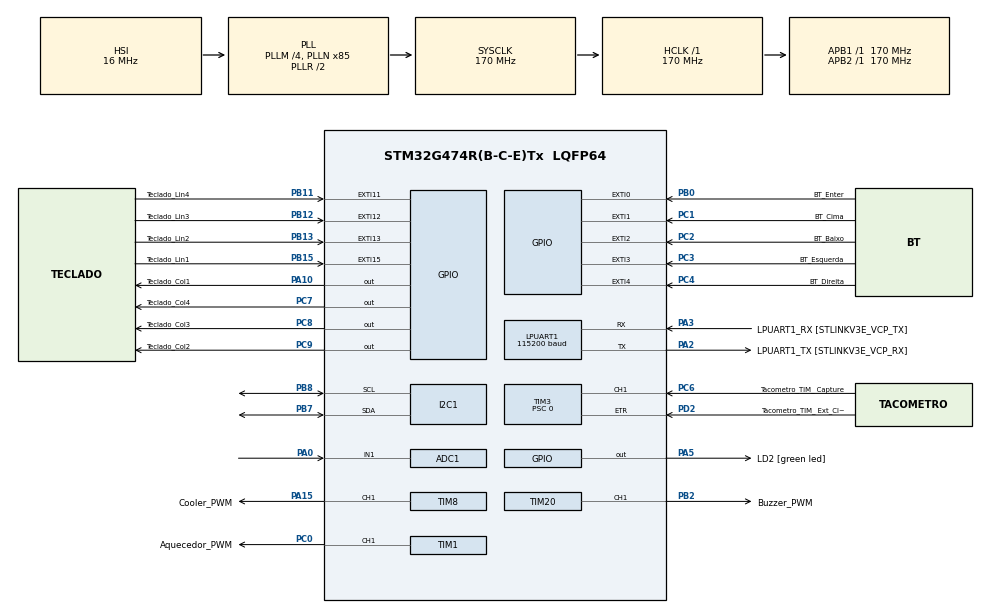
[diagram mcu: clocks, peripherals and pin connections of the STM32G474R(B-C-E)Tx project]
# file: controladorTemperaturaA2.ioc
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ADC1.Channel-1\#ChannelRegularConversion=ADC_CHANNEL_1
ADC1.ClockPrescaler=ADC_CLOCK_ASYNC_DIV64
ADC1.ContinuousConvMode=ENABLE
ADC1.DMAContinuousRequests=ENABLE
ADC1.NbrOfConversion=1
ADC1.NbrOfConversionFlag=1
ADC1.OffsetNumber-1\#ChannelRegularConversion=ADC_OFFSET_NONE
ADC1.OversamplingMode=ENABLE
ADC1.Rank-1\#ChannelRegularConversion=1
ADC1.Ratio=ADC_OVERSAMPLING_RATIO_16
ADC1.RightBitShift=ADC_RIGHTBITSHIFT_4
ADC1.SamplingTime-1\#ChannelRegularConversion=ADC_SAMPLETIME_2CYCLES_5
ADC1.master=1
Dma.ADC1.0.Direction=DMA_PERIPH_TO_MEMORY
Dma.ADC1.0.EventEnable=DISABLE
Dma.ADC1.0.Instance=DMA1_Channel1
Dma.ADC1.0.MemDataAlignment=DMA_MDATAALIGN_HALFWORD
Dma.ADC1.0.MemInc=DMA_MINC_ENABLE
Dma.ADC1.0.Mode=DMA_CIRCULAR
Dma.ADC1.0.PeriphDataAlignment=DMA_PDATAALIGN_HALFWORD
Dma.ADC1.0.PeriphInc=DMA_PINC_DISABLE
Dma.ADC1.0.Polarity=HAL_DMAMUX_REQ_GEN_RISING
Dma.ADC1.0.Priority=DMA_PRIORITY_HIGH
Dma.ADC1.0.RequestNumber=1
Dma.ADC1.0.SignalID=NONE
Dma.ADC1.0.SyncEnable=DISABLE
Dma.ADC1.0.SyncPolarity=HAL_DMAMUX_SYNC_NO_EVENT
Dma.ADC1.0.SyncRequestNumber=1
Dma.ADC1.0.SyncSignalID=NONE
Dma.LPUART1_RX.1.Direction=DMA_PERIPH_TO_MEMORY
Dma.LPUART1_RX.1.EventEnable=DISABLE
Dma.LPUART1_RX.1.Instance=DMA1_Channel2
Dma.LPUART1_RX.1.MemDataAlignment=DMA_MDATAALIGN_BYTE
Dma.LPUART1_RX.1.MemInc=DMA_MINC_ENABLE
Dma.LPUART1_RX.1.Mode=DMA_NORMAL
Dma.LPUART1_RX.1.PeriphDataAlignment=DMA_PDATAALIGN_BYTE
Dma.LPUART1_RX.1.PeriphInc=DMA_PINC_DISABLE
Dma.LPUART1_RX.1.Polarity=HAL_DMAMUX_REQ_GEN_RISING
Dma.LPUART1_RX.1.Priority=DMA_PRIORITY_LOW
Dma.LPUART1_RX.1.RequestNumber=1
Dma.LPUART1_RX.1.SignalID=NONE
Dma.LPUART1_RX.1.SyncEnable=DISABLE
Dma.LPUART1_RX.1.SyncPolarity=HAL_DMAMUX_SYNC_NO_EVENT
Dma.LPUART1_RX.1.SyncRequestNumber=1
Dma.LPUART1_RX.1.SyncSignalID=NONE
Dma.LPUART1_TX.2.Direction=DMA_MEMORY_TO_PERIPH
Dma.LPUART1_TX.2.EventEnable=DISABLE
Dma.LPUART1_TX.2.Instance=DMA1_Channel3
Dma.LPUART1_TX.2.MemDataAlignment=DMA_MDATAALIGN_BYTE
Dma.LPUART1_TX.2.MemInc=DMA_MINC_ENABLE
Dma.LPUART1_TX.2.Mode=DMA_NORMAL
Dma.LPUART1_TX.2.PeriphDataAlignment=DMA_PDATAALIGN_BYTE
Dma.LPUART1_TX.2.PeriphInc=DMA_PINC_DISABLE
Dma.LPUART1_TX.2.Polarity=HAL_DMAMUX_REQ_GEN_RISING
Dma.LPUART1_TX.2.Priority=DMA_PRIORITY_LOW
Dma.LPUART1_TX.2.RequestNumber=1
Dma.LPUART1_TX.2.SignalID=NONE
Dma.LPUART1_TX.2.SyncEnable=DISABLE
Dma.LPUART1_TX.2.SyncPolarity=HAL_DMAMUX_SYNC_NO_EVENT
Dma.LPUART1_TX.2.SyncRequestNumber=1
Dma.LPUART1_TX.2.SyncSignalID=NONE
Dma.Request0=ADC1
Dma.Request1=LPUART1_RX
Dma.Request2=LPUART1_TX
I2C1.Timing=0x30A0A7FB
LPUART1.BaudRate=115200
LPUART1.WordLength=UART_WORDLENGTH_8B
Mcu.Family=STM32G4
Mcu.Name=STM32G474R(B-C-E)Tx
Mcu.Package=LQFP64
NVIC.ADC1_2_IRQn=true\:0\:0\:false\:false\:true\:true\:true\:true
NVIC.DMA1_Channel1_IRQn=true\:0\:0\:false\:false\:true\:false\:true\:true
NVIC.DMA1_Channel2_IRQn=true\:0\:0\:false\:false\:true\:false\:true\:true
NVIC.DMA1_Channel3_IRQn=true\:0\:0\:false\:false\:true\:false\:true\:true
NVIC.EXTI0_IRQn=true\:0\:0\:false\:false\:true\:true\:true\:true
NVIC.EXTI15_10_IRQn=true\:0\:0\:false\:false\:true\:true\:true\:true
NVIC.EXTI1_IRQn=true\:0\:0\:false\:false\:true\:true\:true\:true
NVIC.EXTI2_IRQn=true\:0\:0\:false\:false\:true\:true\:true\:true
NVIC.EXTI3_IRQn=true\:0\:0\:false\:false\:true\:true\:true\:true
NVIC.EXTI4_IRQn=true\:0\:0\:false\:false\:true\:true\:true\:true
NVIC.I2C1_EV_IRQn=true\:0\:0\:false\:false\:true\:true\:true\:true
NVIC.LPUART1_IRQn=true\:0\:0\:false\:false\:true\:true\:true\:true
NVIC.PriorityGroup=NVIC_PRIORITYGROUP_4
NVIC.TIM1_BRK_TIM15_IRQn=true\:0\:0\:false\:false\:true\:true\:true\:true
NVIC.TIM1_TRG_COM_TIM17_IRQn=true\:0\:0\:false\:false\:true\:true\:true\:true
NVIC.TIM1_UP_TIM16_IRQn=true\:0\:0\:false\:false\:true\:true\:true\:true
NVIC.TIM4_IRQn=true\:0\:0\:false\:false\:true\:true\:true\:true
NVIC.TIM5_IRQn=true\:0\:0\:false\:false\:true\:true\:true\:true
NVIC.TIM6_DAC_IRQn=true\:0\:0\:false\:false\:true\:true\:true\:true
NVIC.TIM7_DAC_IRQn=true\:0\:0\:false\:false\:true\:true\:true\:true
PA0.Mode=IN1-Single-Ended
PA0.Signal=ADC1_IN1
PA10.GPIO_Label=Teclado_Col1
PA10.Signal=GPIO_Output
PA13.GPIO_Label=T_SWDIO
PA13.Mode=Serial_Wire
PA13.Signal=SYS_JTMS-SWDIO
PA14.GPIO_Label=T_SWCLK
PA14.Mode=Serial_Wire
PA14.Signal=SYS_JTCK-SWCLK
PA15.GPIO_Label=Cooler_PWM
PA15.Signal=S_TIM8_CH1
PA2.GPIO_Label=LPUART1_TX [STLINKV3E_VCP_RX]
PA2.Mode=Asynchronous
PA2.Signal=LPUART1_TX
PA3.GPIO_Label=LPUART1_RX [STLINKV3E_VCP_TX]
PA3.Mode=Asynchronous
PA3.Signal=LPUART1_RX
PA5.GPIO_Label=LD2 [green led]
PA5.Signal=GPIO_Output
PB0.GPIO_Label=BT_Enter
PB0.GPIO_ModeDefaultEXTI=GPIO_MODE_IT_RISING_FALLING
PB0.Signal=GPXTI0
PB11.GPIO_Label=Teclado_Lin4
PB11.Signal=GPXTI11
PB12.GPIO_Label=Teclado_Lin3 
PB12.Signal=GPXTI12
PB13.GPIO_Label=Teclado_Lin2
PB13.Signal=GPXTI13
PB15.GPIO_Label=Teclado_Lin1 
PB15.Signal=GPXTI15
PB2.GPIO_Label=Buzzer_PWM
PB2.Signal=S_TIM20_CH1
PB3.GPIO_Label=T_SWO
PB3.Signal=SYS_JTDO-SWO
PB7.Mode=I2C
PB7.Signal=I2C1_SDA
PB8-BOOT0.Mode=I2C
PB8-BOOT0.Signal=I2C1_SCL
PC0.GPIO_Label=Aquecedor_PWM
PC0.Signal=S_TIM1_CH1
PC1.GPIO_Label=BT_Cima
PC1.GPIO_ModeDefaultEXTI=GPIO_MODE_IT_RISING_FALLING
PC1.Signal=GPXTI1
PC14-OSC32_IN.Mode=LSE-External-Oscillator
PC14-OSC32_IN.Signal=RCC_OSC32_IN
PC15-OSC32_OUT.Mode=LSE-External-Oscillator
PC15-OSC32_OUT.Signal=RCC_OSC32_OUT
PC2.GPIO_Label=BT_Baixo
PC2.GPIO_ModeDefaultEXTI=GPIO_MODE_IT_RISING_FALLING
PC2.Signal=GPXTI2
PC3.GPIO_Label=BT_Esquerda
PC3.GPIO_ModeDefaultEXTI=GPIO_MODE_IT_RISING_FALLING
PC3.Signal=GPXTI3
PC4.GPIO_Label=BT_Direita
PC4.GPIO_ModeDefaultEXTI=GPIO_MODE_IT_RISING_FALLING
PC4.Signal=GPXTI4
PC6.GPIO_Label=Tacometro_TIM_ Capture
PC6.Signal=S_TIM3_CH1
PC7.GPIO_Label=Teclado_Col4
PC7.Signal=GPIO_Output
PC8.GPIO_Label=Teclado_Col3
PC8.Signal=GPIO_Output
PC9.GPIO_Label=Teclado_Col2 
PC9.Signal=GPIO_Output
PD2.GPIO_Label=Tacometro_TIM_ Ext_Clock 
PD2.Signal=S_TIM3_ETR
PF0-OSC_IN.Mode=HSE-External-Oscillator
PF0-OSC_IN.Signal=RCC_OSC_IN
PF1-OSC_OUT.Mode=HSE-External-Oscillator
PF1-OSC_OUT.Signal=RCC_OSC_OUT
ProjectManager.HeapSize=0x200
ProjectManager.StackSize=0x400
ProjectManager.TargetToolchain=STM32CubeIDE
RCC.ADC12Freq_Value=170000000
RCC.ADC345Freq_Value=170000000
RCC.AHBFreq_Value=170000000
RCC.APB1Freq_Value=170000000
RCC.APB1TimFreq_Value=170000000
RCC.APB2Freq_Value=170000000
RCC.APB2TimFreq_Value=170000000
RCC.CortexFreq_Value=170000000
RCC.EXTERNAL_CLOCK_VALUE=12288000
RCC.HCLKFreq_Value=170000000
RCC.HSE_VALUE=24000000
RCC.HSI48_VALUE=48000000
RCC.HSI_VALUE=16000000
RCC.PLLM=RCC_PLLM_DIV4
RCC.PLLN=85
RCC.RTCClockSelection=RCC_RTCCLKSOURCE_LSE
RCC.SYSCLKFreq_VALUE=170000000
RCC.SYSCLKSource=RCC_SYSCLKSOURCE_PLLCLK
RCC.USBFreq_Value=170000000
RCC.VCOOutputFreq_Value=340000000
SH.S_TIM1_CH1.0=TIM1_CH1,PWM Generation1 CH1
SH.S_TIM20_CH1.0=TIM20_CH1,PWM Generation1 CH1
SH.S_TIM3_CH1.0=TIM3_CH1,Input_Capture1_from_TI1
SH.S_TIM3_ETR.0=TIM3_ETR,ClockSourceETR_Mode2
SH.S_TIM8_CH1.0=TIM8_CH1,PWM Generation1 CH1
TIM1.Channel-PWM\ Generation1\ CH1=TIM_CHANNEL_1
TIM1.PeriodNoDither=1000-1
TIM1.Prescaler=170-1
TIM15.PeriodNoDither=10000-1
TIM15.Prescaler=1700-1
TIM16.PeriodNoDither=10000-1
TIM16.Prescaler=170-1
TIM17.PeriodNoDither=10000-1
TIM17.Prescaler=17000-1
TIM20.Channel-PWM\ Generation1\ CH1=TIM_CHANNEL_1
TIM20.PeriodNoDither=1000 - 1
TIM20.Prescaler=170 - 1
TIM3.Channel-Input_Capture1_from_TI1=TIM_CHANNEL_1
TIM3.PeriodNoDither=65535
TIM3.Prescaler=0
TIM4.PeriodNoDither=1000-1
TIM4.Prescaler=17000-1
TIM5.PeriodNoDither=5000-1
TIM5.Prescaler=17000-1
TIM6.PeriodNoDither=10000-1
TIM6.Prescaler=170-1
TIM7.PeriodNoDither=10000-1
TIM7.Prescaler=170-1
TIM8.Channel-PWM\ Generation1\ CH1=TIM_CHANNEL_1
TIM8.PeriodNoDither=1000-1
TIM8.Prescaler=170-1
VP_SYS_VS_DBSignals.Mode=DisableDeadBatterySignals
VP_TIM15_VS_ClockSourceINT.Mode=Internal
VP_TIM16_VS_ClockSourceINT.Mode=Enable_Timer
VP_TIM17_VS_ClockSourceINT.Mode=Enable_Timer
VP_TIM1_VS_ClockSourceINT.Mode=Internal
VP_TIM20_VS_ClockSourceINT.Mode=Internal
VP_TIM4_VS_ClockSourceINT.Mode=Internal
VP_TIM5_VS_ClockSourceINT.Mode=Internal
VP_TIM6_VS_ClockSourceINT.Mode=Enable_Timer
VP_TIM7_VS_ClockSourceINT.Mode=Enable_Timer
VP_TIM8_VS_ClockSourceINT.Mode=Internal
board=NUCLEO-G474RE

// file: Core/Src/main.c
/* USER CODE BEGIN Header */
/**
  ******************************************************************************
  * @file           : main.c
  * @brief          : Main program body
  ******************************************************************************
  * @attention
  *
  * Copyright (c) 2024 STMicroelectronics.
  * All rights reserved.
  *
  * This software is licensed under terms that can be found in the LICENSE file
  * in the root directory of this software component.
  * If no LICENSE file comes with this software, it is provided AS-IS.
  *
  ******************************************************************************
  */
/* USER CODE END Header */
#include "main.h"
#include "adc.h"
#include "dma.h"
#include "i2c.h"
#include "usart.h"
#include "tim.h"
#include "gpio.h"

/* USER CODE BEGIN Includes */
#include "buttons.h"
#include "led.h"
#include "matrixKeyboard.h"
#include "buttonsEvents.h"
#include "communicationStateMachine.h"
#include "temperatureSensor.h"
#include "lcd.h"
#include "heaterAndCooler.h"
#include "buzzer.h"
#include "tachometer.h"
#include "pid.h"
#include <stdio.h>
#include <stdbool.h>
/* USER CODE END Includes */

/* USER CODE BEGIN PV */

float fActualTemp;
float fDesiredTemp;
unsigned int uiCoolerSpeed;
unsigned char ucButtonState;
unsigned char ucDutyCycleCooler;
unsigned char ucDutyCycleHeather;
char cNumber = 0;
char cNumber500ms = 0;
extern unsigned char c;
char temp = 0x27;

float fPrintCoolerDuty;
float fPrintHeaterDuty;

float fSetPoint = 30;
bool bCoolerActivated = false;
float fHysteresis = 0.05 ; // Histerese de 2 graus, faixa

// A zona morta (histerese) é uma faixa de temperatura em torno do setpoint onde não haverá acionamento do cooler
//O objetivo é evitar acionamento desnecessario do cooler por erro estacionario ou overshoot

xMatrixKeyboardState Teclado;

TIM_HandleTypeDef *pTimDebouncerPointer, *pTimPressedTimePointer;

//AD Conversor
extern ADC_HandleTypeDef hadc1;
extern unsigned long int adc_value;

//pressed buttons flags
char cUpFlag = 0;
char cDownFlag = 0;
char cLeftFlag = 0;
char cRightFlag = 0;
char cEnterFlag = 0;

//flag that shows when a button is pressed for a long period
char cLongPressFlag = 0;

//LCD variables
extern char cLCDAddress;
extern I2C_HandleTypeDef *hLCD;
extern unsigned char ucBackLight;
char cSetBuffer[16];  // String buffer to hold the Set Point value
char cTempBuffer[16]; // String buffer to hold the temperature value
char cRPMBuffer[16];  // String buffer to hold the cooler speed value
char cHeaterBuffer[16]; //String buffer to hold the Heater duty cycle value
char cCoolerBuffer[16]; //String buffer to hold the Cooler duty cycle value
char cLcdMenu = 0;    // Flag indicating what set menu the LCD is showing
char cMenuChanged = 0; //Flag indicating that the menu has changed

//Duty Cycles of Heater and Cooler
uint32_t uiHeaterCCRValue;
uint32_t uiCoolerCCRValue;

//buzzer set timer pointer, period and frequency
extern unsigned short int usBuzzerPeriod;
extern unsigned short int usBuzzerFrequency;
extern TIM_HandleTypeDef *pTimerBuzzer;

//tachometer rotations
extern unsigned short int usCoolerSpeed;

//Temperature Sensor variables
extern float fTemperature;
char ucTemperature[50];

//Struct for PID
extern pid_data_type xPidConfig;
//buffers for PID printing
char cStrKp[16];
char cStrKi[16];
char cStrKd[16];

/* USER CODE END PV */

void SystemClock_Config(void);
/* USER CODE BEGIN PFP */
float vTemperatureControl();
void vCoolerControl(float currentTemp, float setPoint);
void vPeriodicTask1();
void vPeriodicTask2();
void vPeriodicTask3();
/* USER CODE END PFP */

/* USER CODE BEGIN 0 */

void vCoolerOn(float currentTemp, float setPoint) {
        vCoolerfanPWMDuty(1.0); // Turn on the cooler on max power
        vHeaterPWMDuty(0.0); // Turn off the heater
        fPrintCoolerDuty = 1.0;
        fPrintHeaterDuty = 0.0;
        bCoolerActivated = true; // Update the flag
}

void vCoolerOff(float currentTemp, float setPoint) {
        fPrintCoolerDuty = 0.0;
        vCoolerfanPWMDuty(0.0); // Turn off the cooler
        bCoolerActivated = false; // Update the flag
}

//Updates the heater duty cycle according to PID control
float vTemperatureControl()
{
  float fSensorValue, fcontrolEffort;

  fSensorValue = fTemperatureSensorGetTemperature();
  fcontrolEffort = fPidUpdateData(fSensorValue, fSetPoint);
  vHeaterPWMDuty(fcontrolEffort);
  fPrintHeaterDuty = fcontrolEffort;
  return fcontrolEffort;
}

//hold the temperature, the set point and the RPM on a buffer and show on LCD display
void vPeriodicTask1(){
	vLcdSet1();
    sprintf(cTempBuffer, "%.f", fTemperature);
    vLcdSetCursor(0,5);
    vLcdWriteString(cTempBuffer);
    vLcdSetCursor(0,7);
    vLcdWriteString(" ");

	sprintf(cSetBuffer, "%.f", fSetPoint);
	vLcdSetCursor(0,12);
	vLcdWriteString(cSetBuffer);
	vLcdSetCursor(0,14);
	vLcdWriteString("  ");

    sprintf(cRPMBuffer, "%hu", usCoolerSpeed);
    vLcdSetCursor(1,4);
    vLcdWriteString(cRPMBuffer);
}

//hold the Heater and Cooler duty cycles on a buffer and show on LCD display
void vPeriodicTask2(){
	vLcdSet2();
    sprintf(cTempBuffer, "%.f", fTemperature);
    vLcdSetCursor(0,5);
    vLcdWriteString(cTempBuffer);
    vLcdSetCursor(0,7);
    vLcdWriteString(" ");

	sprintf(cSetBuffer, "%.f", fSetPoint);
	vLcdSetCursor(0,12);
	vLcdWriteString(cSetBuffer);
	vLcdSetCursor(0,14);
	vLcdWriteString("  ");

    sprintf(cHeaterBuffer, "%.f", fPrintHeaterDuty*100);
    vLcdSetCursor(1,3);
    vLcdWriteString(cHeaterBuffer);
    vLcdSetCursor(1,6);
    vLcdWriteString("%");

    sprintf(cCoolerBuffer, "%.f", fPrintCoolerDuty*100);
    vLcdSetCursor(1,11);
    vLcdWriteString(cCoolerBuffer);
    vLcdSetCursor(1,14);
    vLcdWriteString("%");
}

//Hold the Kp, Ki and Kd and show on the LCD display
void vPeriodicTask3(){
	vLcdSet3();
    sprintf(cStrKp, "%.1f", xPidConfig.fKp);
    vLcdSetCursor(0,3);
    vLcdWriteString(cStrKp);

    sprintf(cStrKi, "%.1f", xPidConfig.fKi);
    vLcdSetCursor(0,11);
    vLcdWriteString(cStrKi);

    sprintf(cStrKd, "%.1f", xPidConfig.fKd);
    vLcdSetCursor(1,3);
    vLcdWriteString(cStrKd);
}

/* USER CODE END 0 */

int main(void)
{

  /* MCU Configuration--------------------------------------------------------*/

  /* Reset of all peripherals, Initializes the Flash interface and the Systick. */
  HAL_Init();

  /* Configure the system clock */
  SystemClock_Config();

  /* Initialize all configured peripherals */
  MX_GPIO_Init();
  MX_DMA_Init();
  MX_LPUART1_UART_Init();
  MX_TIM6_Init();
  MX_TIM7_Init();
  MX_TIM16_Init();
  MX_I2C1_Init();
  MX_TIM17_Init();
  MX_TIM1_Init();
  MX_TIM8_Init();
  MX_TIM5_Init();
  MX_TIM20_Init();
  MX_TIM3_Init();
  MX_TIM4_Init();
  MX_ADC1_Init();
  MX_TIM15_Init();
  /* USER CODE BEGIN 2 */

  //Communication State Machine
  vCommunicationStateMachineInit(&hlpuart1);

  //Led
  vLedInitLed ();

  //Buttons
  vButtonsInitButtons();

  //MatrixKeyboard
  vMatrixKeyboardInit();

  //Buttons Event
  vButtonsEventsInit(&htim7, &htim16);

  //Lcd
  vLcdInitLcd(&hi2c1, 0x27);
  vLcdSendCommand(CMD_CLEAR);

  //Initialize Timer of counter (currently not being used)
  HAL_TIM_Base_Start_IT(&htim17);

  //Buzzer
  vBuzzerConfig(1000, 100, &htim5); // Input params: usFrequency - usPeriod - pointer to the buzzer timer

  //Heater and Cooler
  setupPWM();

  //Tachmeter
  vTachometerInit(&htim4, 500);

  //Inicialize AD conversor
  vTemperatureSensorInit(&hadc1);
  HAL_TIM_Base_Start_IT(&htim15); //Interruption for setting the frequency of the uart communication

  //PID
  vPidInit(32, 0.5, 2, 0.01, 1);

  /* USER CODE END 2 */

  /* Infinite loop */
  /* USER CODE BEGIN WHILE */
  while (1) {

	  //Get the measured temperature
	  fTemperature = fTemperatureSensorGetTemperature();
	  //clear the display if menu has changed
	  if (cMenuChanged == 1){
		  vLcdSendCommand(CMD_CLEAR);
		  cMenuChanged = 0;
	  }
	  //verify if the LCD will display the temperature menu, duty cycle menu or the control parameters menu
	  if(cLcdMenu == 0)
		  vPeriodicTask1();
	  else if (cLcdMenu == 1)
		  vPeriodicTask2();
	  else if (cLcdMenu == 2)
		  vPeriodicTask3();

	  //checks the temperature and show the heat level by color
      if (fTemperature <= 40){
    	  vLedOffLed(red);
    	  vLedOffLed(yellow);
    	  vLedOnLed(green1);
      }else if (fTemperature <= 60){
    	  vLedOffLed(red);
    	  vLedOnLed(yellow);
    	  vLedOffLed(green1);
      }else if (fTemperature <= 90){
    	  vLedOnLed(red);
    	  vLedOffLed(yellow);
    	  vLedOffLed(green1);
      }

      //checks if the cooler is turned off and the temperature is above the margin stipulated and turn the cooler on
      if (!bCoolerActivated && fTemperature > (fSetPoint + fHysteresis * fSetPoint)) {
          vCoolerOn(fTemperature, fSetPoint);

      //if the cooler is activated and the temperature is below the margin, turn off the cooler and start PID controlling
      } else if (bCoolerActivated && fTemperature < (fSetPoint - fHysteresis * fSetPoint)) {
          vCoolerOff(fTemperature, fSetPoint);
          vTemperatureControl();

      } else {
          vTemperatureControl();
      }

    /* USER CODE END WHILE */

}
}

void SystemClock_Config(void)
{
  RCC_OscInitTypeDef RCC_OscInitStruct = {0};
  RCC_ClkInitTypeDef RCC_ClkInitStruct = {0};

  /** Configure the main internal regulator output voltage
  */
  HAL_PWREx_ControlVoltageScaling(PWR_REGULATOR_VOLTAGE_SCALE1_BOOST);

  /** Initializes the RCC Oscillators according to the specified parameters
  * in the RCC_OscInitTypeDef structure.
  */
  RCC_OscInitStruct.OscillatorType = RCC_OSCILLATORTYPE_HSI;
  RCC_OscInitStruct.HSIState = RCC_HSI_ON;
  RCC_OscInitStruct.HSICalibrationValue = RCC_HSICALIBRATION_DEFAULT;
  RCC_OscInitStruct.PLL.PLLState = RCC_PLL_ON;
  RCC_OscInitStruct.PLL.PLLSource = RCC_PLLSOURCE_HSI;
  RCC_OscInitStruct.PLL.PLLM = RCC_PLLM_DIV4;
  RCC_OscInitStruct.PLL.PLLN = 85;
  RCC_OscInitStruct.PLL.PLLP = RCC_PLLP_DIV2;
  RCC_OscInitStruct.PLL.PLLQ = RCC_PLLQ_DIV2;
  RCC_OscInitStruct.PLL.PLLR = RCC_PLLR_DIV2;
  if (HAL_RCC_OscConfig(&RCC_OscInitStruct) != HAL_OK)
  {
    Error_Handler();
  }

  /** Initializes the CPU, AHB and APB buses clocks
  */
  RCC_ClkInitStruct.ClockType = RCC_CLOCKTYPE_HCLK|RCC_CLOCKTYPE_SYSCLK
                              |RCC_CLOCKTYPE_PCLK1|RCC_CLOCKTYPE_PCLK2;
  RCC_ClkInitStruct.SYSCLKSource = RCC_SYSCLKSOURCE_PLLCLK;
  RCC_ClkInitStruct.AHBCLKDivider = RCC_SYSCLK_DIV1;
  RCC_ClkInitStruct.APB1CLKDivider = RCC_HCLK_DIV1;
  RCC_ClkInitStruct.APB2CLKDivider = RCC_HCLK_DIV1;

  if (HAL_RCC_ClockConfig(&RCC_ClkInitStruct, FLASH_LATENCY_4) != HAL_OK)
  {
    Error_Handler();
  }
}

/* USER CODE BEGIN 4 */

void HAL_UART_RxCpltCallback(UART_HandleTypeDef *huart) {
    if (huart == &hlpuart1) {
        HAL_UART_Receive_IT(&hlpuart1, (uint8_t *)&c, 1);// Re-enable the UART receive interrupt to receive the next byte
        vCommunicationStateMachineProcessByteCommunication(c); // Process the received byte using the communication state machine
    }
}

void HAL_GPIO_EXTI_Callback(uint16_t GPIO_Pin){

	// Reset the counter of the debounce timer
	pTimDebouncerPointer->Instance->CNT = 0;
	// If the button is not in long press mode
	if (!cLongPressFlag){
		HAL_TIM_Base_Start_IT(pTimPressedTimePointer);// Start the timer to measure the button press duration
		cLongPressFlag = 1;// Set the long press flag
	}

	// Check which button was pressed through the corresponding GPIO pin
	switch(GPIO_Pin){

		case BT_Cima_Pin:
			cUpFlag = 1; // Set the flag for the "up" button pressed
			__HAL_GPIO_EXTI_CLEAR_IT(1);// Clear the interrupt flag for the pin
			HAL_NVIC_DisableIRQ(BT_Cima_EXTI_IRQn);// Disable the interrupt for the "up" pin
			HAL_TIM_Base_Start_IT(pTimDebouncerPointer);// Start the debounce timer

		break;
		case BT_Baixo_Pin:
			cDownFlag = 1; // Set the flag for the "down" button pressed
			__HAL_GPIO_EXTI_CLEAR_IT(2);// Clear the interrupt flag for the pin
			HAL_NVIC_DisableIRQ(BT_Baixo_EXTI_IRQn);// Disable the interrupt for the "down" pin
			HAL_TIM_Base_Start_IT(pTimDebouncerPointer);// Start the debounce timer

		break;
		case BT_Esquerda_Pin:
			cLeftFlag = 1; // Set the flag for the "left" button pressed
			__HAL_GPIO_EXTI_CLEAR_IT(3);// Clear the interrupt flag for the pin
			HAL_NVIC_DisableIRQ(BT_Esquerda_EXTI_IRQn);// Disable the interrupt for the "left" pin
			HAL_TIM_Base_Start_IT(pTimDebouncerPointer);// Start the debounce timer

		break;
		case BT_Direita_Pin:
			cRightFlag = 1; // Set the flag for the "right" button pressed
			__HAL_GPIO_EXTI_CLEAR_IT(4);// Clear the interrupt flag for the pin
			HAL_NVIC_DisableIRQ(BT_Direita_EXTI_IRQn);// Disable the interrupt for the "right" pin
			HAL_TIM_Base_Start_IT(pTimDebouncerPointer);// Start the debounce timer

		break;
		case BT_Enter_Pin:
			cEnterFlag = 1; // Set the flag for the "enter" button pressed
			__HAL_GPIO_EXTI_CLEAR_IT(0);// Clear the interrupt flag for the pin
			HAL_NVIC_DisableIRQ(BT_Enter_EXTI_IRQn);// Disable the interrupt for the "enter" pin
			HAL_TIM_Base_Start_IT(pTimDebouncerPointer);// Start the debounce timer

		break;
		}
}

void HAL_TIM_PeriodElapsedCallback(TIM_HandleTypeDef * htim){

	if(htim == &htim6)
		vMatrixKeyboardRead();//Matrix Keyboard callback
	else
		if(htim == pTimDebouncerPointer)
			timerButtonsEventsDebouncingPeriodElapsedCallback();//Buttons Debouncing callback
		else
			if (htim == pTimPressedTimePointer)
				timerButtonsEventsLongPressPeriodElapsedCallback();//Buttons long pressed events callback
			else
				if (htim == &htim5)
					vBuzzerStop();//stops the buzzer after the timer interruption, set for 100ms
				else
					if (htim == &htim4)
						vTachometerUpdate();//tachometer callback
	}

//the up and down buttons increment/decrement the set point by 1 units
void vButtonsEventCallbackPressedEvent(char cBt){
	if(cBt == down){
		if(fSetPoint > 0)
			fSetPoint -= 1;
	}else if(cBt == up){
		if(fSetPoint < 90)
			fSetPoint += 1;
	}
}

//Play the buzzer if any button is released
void vButtonsEventCallbackReleasedEvent(char cBt){
	vBuzzerPlay();
}

//the up and down buttons increment/decrement the set point by 10 units
void vButtonsEventCallback500msPressedEvent(char cBt){
	if (cBt == up){
		if(fSetPoint < 80)
			fSetPoint = fSetPoint + 10;
		else
			fSetPoint = 90;
	}else if(cBt == down){
		if(fSetPoint < 10)
			fSetPoint = 0;
		else
			fSetPoint = fSetPoint - 10;
	}
}

//Toogle the LCD menu display
void vButtonsEventCallback3sPressedEvent(char cBt){
	if (cBt == enter){
		if(cLcdMenu == 0)
			cLcdMenu = 1;
		else if (cLcdMenu == 1)
			cLcdMenu = 2;
		else
			cLcdMenu = 0;
		cMenuChanged = 1;
	}
}

/* USER CODE END 4 */

void Error_Handler(void)
{
  __disable_irq();
  while (1)
  {
  }
}
